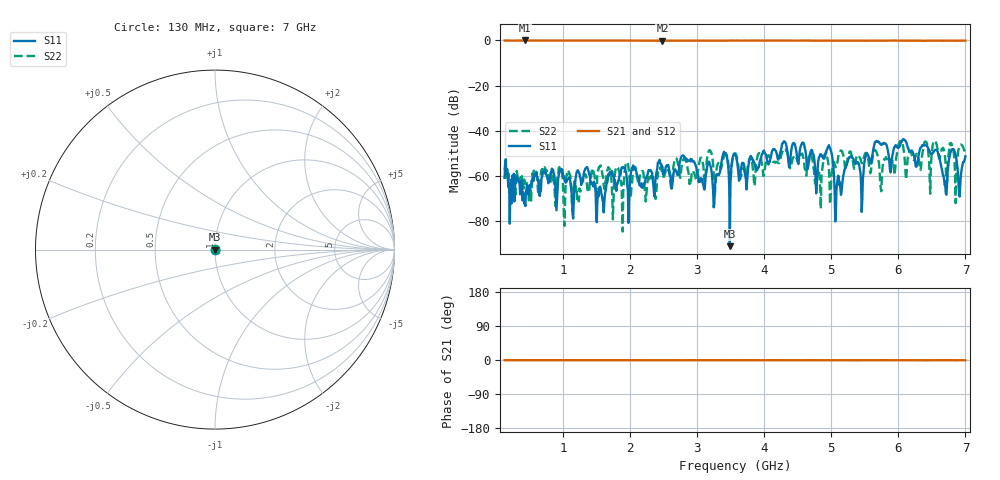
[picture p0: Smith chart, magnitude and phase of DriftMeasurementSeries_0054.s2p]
# Hz S RI R 50.000000
! Metas.Vna.Tools, 2.8.8664.20301
! Metas.Vna.Data, 2.8.8664.20285
! Created: UTC 2024.02.11 10:08:26
! FREQ  re:S1,1  im:S1,1  re:S2,1  im:S2,1  re:S1,2  im:S1,2  re:S2,2  im:S2,2
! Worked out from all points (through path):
!   801 points, 130 MHz to 7 GHz, reference 50 ohm
!   highest |S21| = -0.02 dB at 439.1 MHz (marker M1); lowest = -0.2 dB at 2.483 GHz (marker M2)
!   lowest |S11| = -91.2 dB at 3.488 GHz (marker M3), VSWR 1.00, Z = 50 - j0.00169 ohm
!   |S11| at or under -10 dB: start of sweep to end of sweep
!   |S22| runs from -84.7 to -44.4 dB; largest |S21 - S12| = 0.019
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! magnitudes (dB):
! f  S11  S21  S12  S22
! 130 MHz  -60.9  -0.1  0.0  -57.4
! 439.1 MHz  -73.4  0.0  0.0  -62.6
! 1.281 GHz  -63.3  -0.1  0.0  -60.2
! 1.607 GHz  -76.2  -0.1  0.0  -64.2
! 2.423 GHz  -54.1  -0.1  0.0  -56.8
! 2.483 GHz  -55.9  -0.2  0.0  -59.3
! 3.264 GHz  -65.2  -0.1  0.0  -68.9
! 3.41 GHz  -49.8  -0.1  0.0  -51.2
! 3.488 GHz  -91.2  -0.1  0.0  -62.6
! 3.565 GHz  -50.4  -0.1  0.0  -50.1
! 4.716 GHz  -48.8  -0.1  0.0  -52.4
! 4.973 GHz  -47.2  -0.1  0.0  -62.2
! 5.085 GHz  -63.7  -0.1  0.0  -54.6
! 5.282 GHz  -51.8  -0.1  0.0  -49.3
! 5.454 GHz  -76.0  -0.1  0.0  -54.4
! 5.678 GHz  -44.5  -0.1  0.0  -49.7
! 5.858 GHz  -51.4  -0.1  0.0  -53.0
! 6.399 GHz  -46.4  -0.1  0.0  -44.8
! 6.699 GHz  -64.5  -0.1  0.0  -52.2
! 6.802 GHz  -48.4  -0.1  0.0  -46.6
! 6.914 GHz  -69.2  -0.1  0.0  -46.9
! 7 GHz  -51.3  -0.1  0.0  -50.1
